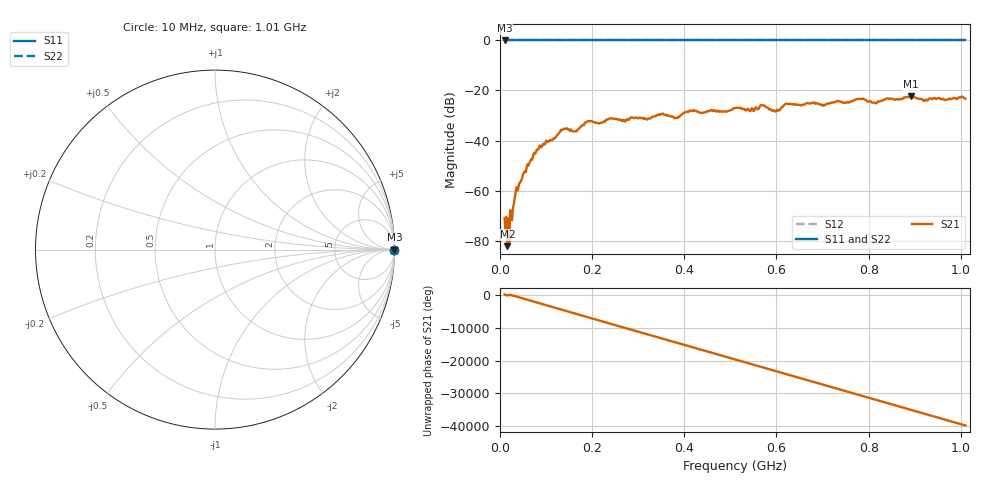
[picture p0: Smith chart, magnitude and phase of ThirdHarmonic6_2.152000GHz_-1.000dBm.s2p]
! 8/17/2025 1:41:53 AM
! C:\ANRITSUVNA\TEMP\TEMP.S2P
! CHANNEL.1
! TR.MEASUREMENT
! RAW.DATA
! RF.CORRECTION.OFF
! AVERAGING.OFF
! IF.BANDWIDTH: 5KHZ
! SWEEPTYPE:  FREQ.SWEEP(Linear)
! Reference Plane Port Info
! PORT:  PORT1  PORT2
! DISTANCE:  0  m  0  m
! TIME:  0  s  0  s
! PHASE.OFFSET:  0  deg.  0  deg.
! LOSS:  0  dB  0  dB
! REF.LOSS:  0  dB  0  dB
! REF.FREQ:  0  Hz  0  Hz
! Power Info
! POWER:  -20  dBm  -20  dBm
! EFF.POWER:  -20  dBm  -20  dBm
! SOURCE.ATTEN:  0  dB  0  dB
! TEST.ATTEN:  0  dB  0  dB
# GHZ S RI R 50.0
! FREQ.GHZ  S11RE  S11IM  S21RE  S21IM  S12RE  S12IM  S22RE  S22IM
!; PortSelection: Port_12
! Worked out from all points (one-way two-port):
!   501 points, 10 MHz to 1.01 GHz, reference 50 ohm
!   highest |S21| = -22.40 dB at 892 MHz (marker M1); lowest = -82.2 dB at 16 MHz (marker M2)
!   lowest |S11| = 0.0 dB at 10 MHz (marker M3)
!   |S11| at or under -10 dB: nowhere
!   |S22| runs from 0.0 to 0.0 dB; largest |S21 - S12| = 1.1
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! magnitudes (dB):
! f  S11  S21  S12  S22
! 10 MHz  0.0  -71.0  0.0  0.0
! 16 MHz  0.0  -82.2  0.0  0.0
! 24 MHz  0.0  -70.6  0.0  0.0
! 32 MHz  0.0  -62.9  0.0  0.0
! 38 MHz  0.0  -60.0  0.0  0.0
! 76 MHz  0.0  -45.4  0.0  0.0
! 136 MHz  0.0  -35.7  0.0  0.0
! 162 MHz  0.0  -36.3  0.0  0.0
! 178 MHz  0.0  -34.0  0.0  0.0
! 192 MHz  0.0  -32.2  0.0  0.0
! 344 MHz  0.0  -29.8  0.0  0.0
! 382 MHz  0.0  -30.9  0.0  0.0
! 416 MHz  0.0  -28.3  0.0  0.0
! 510 MHz  0.0  -27.1  0.0  0.0
! 570 MHz  0.0  -26.0  0.0  0.0
! 596 MHz  0.0  -28.0  0.0  0.0
! 622 MHz  0.0  -25.2  0.0  0.0
! 678 MHz  0.0  -25.0  0.0  0.0
! 814 MHz  0.0  -25.0  0.0  0.0
! 844 MHz  0.0  -23.3  0.0  0.0
! 892 MHz  0.0  -22.4  0.0  0.0
! 1.01 GHz  0.0  -23.3  0.0  0.0
